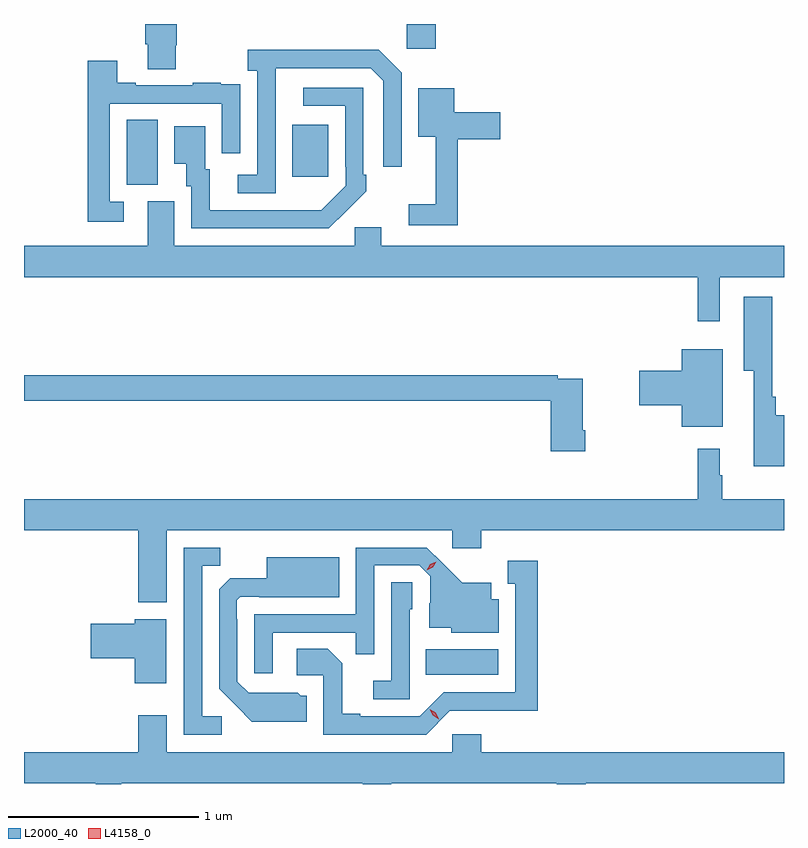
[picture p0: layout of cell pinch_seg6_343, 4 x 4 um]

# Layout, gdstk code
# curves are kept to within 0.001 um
import gdstk
lib = gdstk.Library(unit=1e-6, precision=1e-09)
def R(c, l, rs):  # rectangles x0, y0, x1, y1
    for r in rs: c.add(gdstk.rectangle(r[:2], r[2:], *l))
def P(c, l, *ps):  # polygons
    for p in ps: c.add(gdstk.Polygon(p, *l))
L2000_40 = (2000, 40)
L4158_0 = (4158, 0)

pinch_seg6_343 = lib.new_cell('pinch_seg6_343')
R(pinch_seg6_343, L2000_40, [(744.316,945.242,744.697,945.376), (742.742,947.821,742.906,948.164), (743.615,947.865,743.803,948.139), (744.216,948.537,744.368,948.668)])
P(pinch_seg6_343, L2000_40, [(743.001,948.555),(743.006,948.555),(743.006,948.668),(742.841,948.668),(742.841,948.562),(742.853,948.562),(742.853,948.43),(743.001,948.43)],
  [(743.526,948.235),(743.527,948.435),(744.027,948.435),(744.093,948.369),(744.093,947.916),(744.189,947.916),(744.189,948.411),(744.068,948.532),(743.379,948.532),(743.379,948.422),(743.43,948.422),(743.43,947.874),(743.328,947.874),(743.328,947.778),(743.526,947.778)],
  [(742.726,947.733),(742.653,947.733),(742.653,948.249),(743.244,948.249),(743.244,947.988),(743.34,947.988),(743.34,948.242),(743.339,948.242),(743.339,948.351),(743.237,948.351),(743.237,948.358),(743.089,948.358),(743.089,948.345),(742.789,948.345),(742.789,948.358),(742.693,948.358),(742.693,948.475),(742.537,948.475),(742.537,947.628),(742.726,947.628)],
  [(743.897,947.683),(743.898,947.682),(744.003,947.787),(744.003,947.875),(743.988,947.875),(743.988,948.333),(743.673,948.333),(743.673,948.237),(743.892,948.237),(743.892,947.917),(743.895,947.917),(743.895,947.817),(743.767,947.689),(743.179,947.688),(743.179,947.904),(743.155,947.904),(743.155,948.13),(742.994,948.13),(742.994,947.933),(743.057,947.933),(743.057,947.814),(743.082,947.814),(743.082,947.592),(743.806,947.592)],
  [(744.485,948.062),(744.709,948.062),(744.709,948.204),(744.466,948.204),(744.466,948.331),(744.278,948.331),(744.278,948.074),(744.368,948.074),(744.368,947.719),(744.228,947.719),(744.228,947.61),(744.485,947.61)],
  [(745.863,947.336),(746.202,947.336),(746.202,947.5),(744.082,947.5),(744.082,947.598),(743.943,947.598),(743.943,947.5),(742.993,947.5),(742.993,947.736),(742.853,947.736),(742.853,947.5),(742.202,947.5),(742.202,947.336),(745.747,947.336),(745.747,947.103),(745.863,947.103)],
  [(746.202,946.609),(746.159,946.609),(746.159,946.705),(746.14,946.705),(746.14,947.233),(745.991,947.233),(745.991,946.844),(746.042,946.844),(746.042,946.34),(746.202,946.34)],
  [(745.879,946.957),(745.664,946.957),(745.664,946.844),(745.44,946.844),(745.44,946.661),(745.664,946.661),(745.664,946.547),(745.879,946.547)],
  [(745.157,946.531),(745.144,946.531),(745.144,946.8),(745.01,946.8),(745.01,946.82),(742.202,946.82),(742.202,946.684),(744.974,946.684),(744.974,946.419),(745.157,946.419)],
  [(742.954,946.004),(744.456,946.004),(744.456,945.909),(744.608,945.909),(744.608,946.004),(746.202,946.004),(746.202,946.168),(745.876,946.168),(745.876,946.292),(745.864,946.292),(745.864,946.432),(745.747,946.432),(745.747,946.168),(742.202,946.168),(742.202,946.004),(742.802,946.004),(742.802,945.624),(742.954,945.624)],
  [(743.242,945.024),(743.139,945.024),(743.139,945.817),(743.235,945.817),(743.235,945.912),(743.043,945.912),(743.043,944.928),(743.242,944.928)],
  [(743.511,945.465),(743.947,945.465),(743.947,945.352),(744.045,945.352),(744.045,945.819),(744.282,945.819),(744.339,945.762),(744.339,945.62),(744.335,945.62),(744.335,945.491),(744.45,945.491),(744.45,945.464),(744.7,945.464),(744.7,945.64),(744.661,945.64),(744.661,945.727),(744.509,945.727),(744.322,945.912),(743.949,945.912),(743.949,945.561),(743.415,945.561),(743.415,945.252),(743.511,945.252)],
  [(743.689,945.132),(743.658,945.132),(743.642,945.148),(743.385,945.147),(743.325,945.207),(743.325,945.536),(743.322,945.536),(743.322,945.636),(743.34,945.654),(743.44,945.654),(743.44,945.65),(743.86,945.65),(743.86,945.862),(743.48,945.862),(743.48,945.751),(743.288,945.751),(743.229,945.692),(743.229,945.17),(743.401,944.996),(743.689,944.996)],
  [(744.444,945.054),(744.907,945.053),(744.907,945.844),(744.749,945.844),(744.749,945.723),(744.788,945.723),(744.788,945.15),(744.411,945.15),(744.285,945.024),(743.971,945.024),(743.971,945.037),(743.877,945.037),(743.877,945.304),(743.801,945.38),(743.637,945.38),(743.637,945.24),(743.778,945.24),(743.778,944.928),(744.318,944.928)],
  [(744.231,945.588),(744.246,945.588),(744.246,945.731),(744.135,945.731),(744.135,945.211),(744.039,945.211),(744.039,945.114),(744.231,945.114)],
  [(742.951,945.535),(742.784,945.535),(742.784,945.512),(742.554,945.512),(742.554,945.329),(742.784,945.329),(742.784,945.198),(742.951,945.198)],
  [(742.715,944.672),(743.984,944.672),(743.984,944.668),(744.136,944.668),(744.136,944.672),(745.007,944.672),(745.007,944.668),(745.159,944.668),(745.159,944.672),(746.202,944.672),(746.202,944.836),(744.608,944.836),(744.608,944.929),(744.456,944.929),(744.456,944.836),(742.954,944.836),(742.954,945.031),(742.802,945.031),(742.802,944.836),(742.202,944.836),(742.202,944.672),(742.579,944.672),(742.579,944.668),(742.715,944.668)])
P(pinch_seg6_343, L4158_0, [(744.385,945.01),(744.354,945.03),(744.337,945.062),(744.337,945.062),(744.337,945.062),(744.368,945.043),(744.386,945.011),(744.386,945.01)],
  [(744.323,945.794),(744.323,945.794),(744.341,945.824),(744.372,945.839),(744.372,945.839),(744.372,945.838),(744.354,945.809),(744.323,945.794)])

lib.write_gds('pinch_seg6_343.gds')
